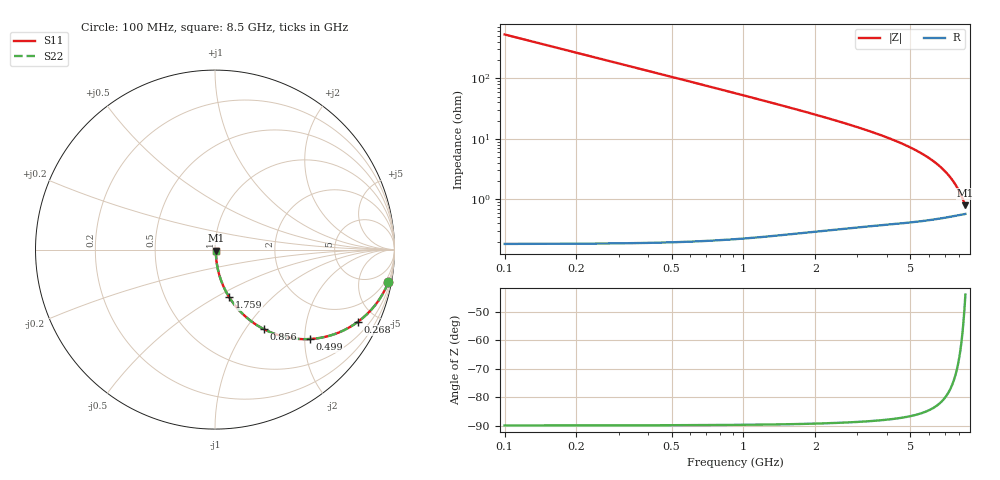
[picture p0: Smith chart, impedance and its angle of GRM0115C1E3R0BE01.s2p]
!Murata Part Number: GRM0115C1E3R0BE01
!These Parameters are Measured in Series Mode Connection
!Data Generated on Mar 30, 2021
!  o--ll--o
!Port1  Port2
!  o------o
!Operation Temp=25[degC], DC Bias Voltage=0[V]
!Freq. Start=100[MHz] Stop=9[GHz] 401[Steps]
# Hz S RI R 50
!Freq.(Hz) S11(Real) S11(Imag) S21(Real) S21(Imag) S12(Real) S12(Imag) S22(Real) S22(Imag)
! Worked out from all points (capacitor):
!   401 points, 100 MHz to 8.5 GHz, reference 50 ohm
!   read as one part in series: C = 3 pF near 142 MHz
!   lowest |Z| = 792 mohm at 8.5 GHz (marker M1)
!   S11 on the Smith chart (normalised r, x): 100 MHz: 1, -11; 268 MHz: 1.00, -3.95; 499 MHz: 1.00, -2.12; 856 MHz: 1.00, -1.23; 1.759 GHz: 1.01, -0.58; 8.5 GHz: 1.01, -0.01
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1e8  0.9656 -0.182  0.0344 0.182  0.0344 0.182  0.9656 -0.182
1.42e8  0.933 -0.2498  0.067 0.2498  0.067 0.2498  0.933 -0.2498
2.05e8  0.8698 -0.3362  0.1302 0.3362  0.1302 0.3362  0.8698 -0.3362
2.68e8  0.7961 -0.4024  0.2039 0.4024  0.2039 0.4024  0.7961 -0.4024
3.73e8  0.6681 -0.4702  0.3319 0.4702  0.3319 0.4702  0.6681 -0.4702
4.99e8  0.5287 -0.4983  0.4713 0.4983  0.4713 0.4983  0.5287 -0.4983
6.67e8  0.3847 -0.4852  0.6153 0.4852  0.6153 0.4852  0.3847 -0.4852
8.56e8  0.274 -0.4443  0.726 0.4443  0.726 0.4443  0.274 -0.4443
1.003e9  0.2147 -0.4085  0.7853 0.4085  0.7853 0.4085  0.2147 -0.4085
1.15e9  0.1714 -0.3742  0.8286 0.3742  0.8286 0.3742  0.1714 -0.3742
1.507e9  0.1059 -0.304  0.8941 0.304  0.8941 0.304  0.1059 -0.304
1.759e9  0.0791 -0.2652  0.9209 0.2652  0.9209 0.2652  0.0791 -0.2652
2.284e9  0.0472 -0.205  0.9528 0.205  0.9528 0.205  0.0472 -0.205
2.914e9  0.0285 -0.1563  0.9715 0.1563  0.9715 0.1563  0.0285 -0.1563
4.3e9  0.0125 -0.0921  0.9875 0.0921  0.9875 0.0921  0.0125 -0.0921
5.707e9  0.00724 -0.0533  0.9928 0.0533  0.9928 0.0533  0.00724 -0.0533
6.484e9  0.0061 -0.0373  0.9939 0.0373  0.9939 0.0373  0.0061 -0.0373
7.114e9  0.00568 -0.0261  0.9943 0.0261  0.9943 0.0261  0.00568 -0.0261
7.492e9  0.00558 -0.02  0.9944 0.02  0.9944 0.02  0.00558 -0.02
7.828e9  0.00558 -0.0149  0.9944 0.0149  0.9944 0.0149  0.00558 -0.0149
8.101e9  0.00561 -0.0109  0.9944 0.0109  0.9944 0.0109  0.00561 -0.0109
8.5e9  0.00572 -0.00542  0.9943 0.00542  0.9943 0.00542  0.00572 -0.00542
